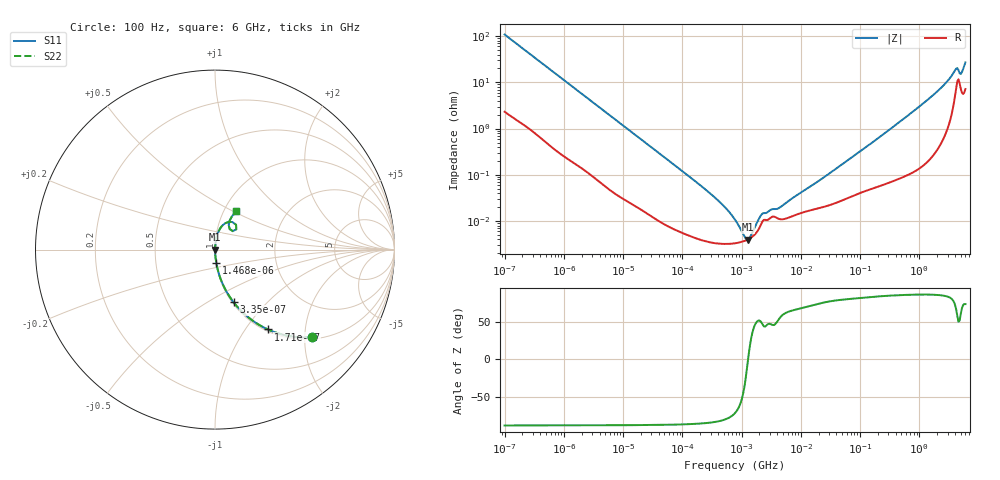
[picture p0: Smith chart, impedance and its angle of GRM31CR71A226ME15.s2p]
!Murata Part Number: GRM31CR71A226ME15
!These Parameters are Measured in Series Mode Connection
!Data Generated on Mar 30, 2021
!  o--ll--o
!Port1  Port2
!  o------o
!Operation Temp=25[degC], DC Bias Voltage=0[V]
!Freq. Start=100[Hz] Stop=6[GHz] 401[Steps]
# Hz S RI R 50
!Freq.(Hz) S11(Real) S11(Imag) S21(Real) S21(Imag) S12(Real) S12(Imag) S22(Real) S22(Imag)
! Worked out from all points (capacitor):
!   401 points, 100 Hz to 6 GHz, reference 50 ohm
!   read as one part in series: C = 14.6 uF near 109 Hz
!   lowest |Z| = 3.98 mohm at 1.268 MHz (marker M1)
!   series resonance near 1.287 MHz, so ESL is about 1 nH
!   S11 on the Smith chart (normalised r, x): 100 Hz: 1.05, -2.17; 171 Hz: 1.03, -1.28; 335 Hz: 1.02, -0.66; 1.468 kHz: 1.00, -0.15; 6 GHz: 1.14, +0.52
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100  0.541 -0.4878  0.459 0.4878  0.459 0.4878  0.541 -0.4878
171  0.2947 -0.4448  0.7053 0.4448  0.7053 0.4448  0.2947 -0.4448
335  0.104 -0.2938  0.896 0.2938  0.896 0.2938  0.104 -0.2938
686  0.0292 -0.1577  0.9708 0.1577  0.9708 0.1577  0.0292 -0.1577
1468  0.00765 -0.0762  0.9923 0.0762  0.9923 0.0762  0.00765 -0.0762
2008  0.00455 -0.0562  0.9955 0.0562  0.9955 0.0562  0.00455 -0.0562
40335  0.000108 -0.00295  0.9999 0.00295  0.9999 0.00295  0.000108 -0.00295
316350  3.41e-05 -0.000365  1 0.000365  1 0.000365  3.41e-05 -0.000365
517687  3.2e-05 -0.0002  1 0.0002  1 0.0002  3.2e-05 -0.0002
774597  3.3e-05 -0.000102  1 0.000102  1 0.000102  3.3e-05 -0.000102
885955  3.4e-05 -7.39e-05  1 7.39e-05  1 7.39e-05  3.4e-05 -7.39e-05
1267578  3.97e-05 -3e-06  1 3e-06  1 3e-06  3.97e-05 -3e-06
1813585  5.79e-05 7.12e-05  0.9999 -7.12e-05  0.9999 -7.12e-05  5.79e-05 7.12e-05
2268635  9.93e-05 0.000107  0.9999 -0.000107  0.9999 -0.000107  9.93e-05 0.000107
4440638  0.00011 0.000163  0.9999 -0.000163  0.9999 -0.000163  0.00011 0.000163
1.555665e7  0.000175 0.000566  0.9998 -0.000566  0.9998 -0.000566  0.000175 0.000566
3.124326e8  0.000766 0.00942  0.9992 -0.00942  0.9992 -0.00942  0.000766 0.00942
1.791126e9  0.00588 0.0552  0.9941 -0.0552  0.9941 -0.0552  0.00588 0.0552
3.065283e9  0.0223 0.1064  0.9777 -0.1064  0.9777 -0.1064  0.0223 0.1064
4.009986e9  0.0743 0.1539  0.9257 -0.1539  0.9257 -0.1539  0.0743 0.1539
5.016141e9  0.0819 0.1143  0.9181 -0.1143  0.9181 -0.1143  0.0819 0.1143
6e9  0.1189 0.2139  0.8811 -0.2139  0.8811 -0.2139  0.1189 0.2139
